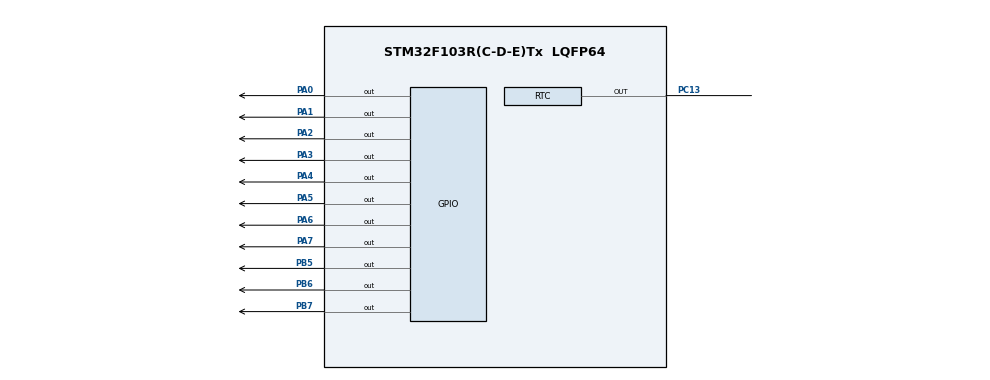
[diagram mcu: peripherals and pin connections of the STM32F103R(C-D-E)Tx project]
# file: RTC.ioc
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Mcu.Family=STM32F1
Mcu.Name=STM32F103R(C-D-E)Tx
Mcu.Package=LQFP64
NVIC.PriorityGroup=NVIC_PRIORITYGROUP_4
PA0-WKUP.Signal=GPIO_Output
PA1.Signal=GPIO_Output
PA2.Signal=GPIO_Output
PA3.Signal=GPIO_Output
PA4.Signal=GPIO_Output
PA5.Signal=GPIO_Output
PA6.Signal=GPIO_Output
PA7.Signal=GPIO_Output
PB5.Signal=GPIO_Output
PB6.Signal=GPIO_Output
PB7.Signal=GPIO_Output
PC13-TAMPER-RTC.Mode=RTC OUT
PC13-TAMPER-RTC.Signal=RTC_OUT
PC14-OSC32_IN.Mode=LSE-External-Oscillator
PC14-OSC32_IN.Signal=RCC_OSC32_IN
PC15-OSC32_OUT.Mode=LSE-External-Oscillator
PC15-OSC32_OUT.Signal=RCC_OSC32_OUT
PD0-OSC_IN.Mode=HSE-External-Oscillator
PD0-OSC_IN.Signal=RCC_OSC_IN
PD1-OSC_OUT.Mode=HSE-External-Oscillator
PD1-OSC_OUT.Signal=RCC_OSC_OUT
ProjectManager.TargetToolchain=EWARM
RCC.APB1Freq_Value=8000000
RCC.APB2Freq_Value=8000000
RCC.APB2TimFreq_Value=8000000
RCC.RTCClockSelection=RCC_RTCCLKSOURCE_LSE
RTC.Date=15
RTC.Format=FORMAT_BIN
RTC.Hours=9
RTC.Minutes=37
RTC.Month=RTC_MONTH_SEPTEMBER
RTC.OutPut=RTC_OUTPUTSOURCE_SECOND
RTC.Seconds=20
RTC.WeekDay=RTC_WEEKDAY_WEDNESDAY
RTC.Year=16
board=RTC

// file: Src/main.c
/**
  ******************************************************************************
  * File Name          : main.c
  * Description        : Main program body
  ******************************************************************************
  *
  * COPYRIGHT(c) 2016 STMicroelectronics
  *
  * Redistribution and use in source and binary forms, with or without modification,
  * are permitted provided that the following conditions are met:
  *   1. Redistributions of source code must retain the above copyright notice,
  *      this list of conditions and the following disclaimer.
  *   2. Redistributions in binary form must reproduce the above copyright notice,
  *      this list of conditions and the following disclaimer in the documentation
  *      and/or other materials provided with the distribution.
  *   3. Neither the name of STMicroelectronics nor the names of its contributors
  *      may be used to endorse or promote products derived from this software
  *      without specific prior written permission.
  *
  * THIS SOFTWARE IS PROVIDED BY THE COPYRIGHT HOLDERS AND CONTRIBUTORS "AS IS"
  * AND ANY EXPRESS OR IMPLIED WARRANTIES, INCLUDING, BUT NOT LIMITED TO, THE
  * IMPLIED WARRANTIES OF MERCHANTABILITY AND FITNESS FOR A PARTICULAR PURPOSE ARE
  * DISCLAIMED. IN NO EVENT SHALL THE COPYRIGHT HOLDER OR CONTRIBUTORS BE LIABLE
  * FOR ANY DIRECT, INDIRECT, INCIDENTAL, SPECIAL, EXEMPLARY, OR CONSEQUENTIAL
  * DAMAGES (INCLUDING, BUT NOT LIMITED TO, PROCUREMENT OF SUBSTITUTE GOODS OR
  * SERVICES; LOSS OF USE, DATA, OR PROFITS; OR BUSINESS INTERRUPTION) HOWEVER
  * CAUSED AND ON ANY THEORY OF LIABILITY, WHETHER IN CONTRACT, STRICT LIABILITY,
  * OR TORT (INCLUDING NEGLIGENCE OR OTHERWISE) ARISING IN ANY WAY OUT OF THE USE
  * OF THIS SOFTWARE, EVEN IF ADVISED OF THE POSSIBILITY OF SUCH DAMAGE.
  *
  ******************************************************************************
  */
#include "stm32f1xx_hal.h"

/* USER CODE BEGIN Includes */

#include "LCD\lcd.h"
#include <stdio.h>

/* USER CODE END Includes */

RTC_HandleTypeDef hrtc;

/* USER CODE BEGIN PV */
/* Private variables ---------------------------------------------------------*/

 char str[17];
 RTC_TimeTypeDef time;
 RTC_DateTypeDef date;

/* USER CODE END PV */

void SystemClock_Config(void);
static void MX_GPIO_Init(void);
static void MX_RTC_Init(void);

/* USER CODE BEGIN PFP */
/* Private function prototypes -----------------------------------------------*/

/* USER CODE END PFP */

int main(void)
{

  /* MCU Configuration----------------------------------------------------------*/

  /* Reset of all peripherals, Initializes the Flash interface and the Systick. */
  HAL_Init();

  /* Configure the system clock */
  SystemClock_Config();

  /* Initialize all configured peripherals */
  MX_GPIO_Init();
  MX_RTC_Init();

  /* USER CODE BEGIN 2 */

  lcd_init();
  lcd_clear();

  /* USER CODE END 2 */

  /* Infinite loop */
  /* USER CODE BEGIN WHILE */
  while (1)
  {
    HAL_RTC_GetTime(&hrtc, &time, RTC_FORMAT_BIN);
    HAL_RTC_GetDate(&hrtc, &date, RTC_FORMAT_BIN);

    sprintf(str,"%2.2d:%2.2d:%2.2d", time.Hours, time.Minutes, time.Seconds);
    lcd_gotoxy(0,0);
    lcd_puts(str);

    sprintf(str,"20%2.2d/%2.2d/%2.2d", date.Year, date.Month, date.Date);
    lcd_gotoxy(0,1);
    lcd_puts(str);

  /* USER CODE END WHILE */

  }

}

/** System Clock Configuration
*/
void SystemClock_Config(void)
{

  RCC_OscInitTypeDef RCC_OscInitStruct;
  RCC_ClkInitTypeDef RCC_ClkInitStruct;
  RCC_PeriphCLKInitTypeDef PeriphClkInit;

  RCC_OscInitStruct.OscillatorType = RCC_OSCILLATORTYPE_HSI|RCC_OSCILLATORTYPE_LSE;
  RCC_OscInitStruct.LSEState = RCC_LSE_ON;
  RCC_OscInitStruct.HSIState = RCC_HSI_ON;
  RCC_OscInitStruct.HSICalibrationValue = 16;
  RCC_OscInitStruct.PLL.PLLState = RCC_PLL_NONE;
  HAL_RCC_OscConfig(&RCC_OscInitStruct);

  RCC_ClkInitStruct.ClockType = RCC_CLOCKTYPE_SYSCLK;
  RCC_ClkInitStruct.SYSCLKSource = RCC_SYSCLKSOURCE_HSI;
  RCC_ClkInitStruct.AHBCLKDivider = RCC_SYSCLK_DIV1;
  RCC_ClkInitStruct.APB1CLKDivider = RCC_HCLK_DIV1;
  RCC_ClkInitStruct.APB2CLKDivider = RCC_HCLK_DIV1;
  HAL_RCC_ClockConfig(&RCC_ClkInitStruct, FLASH_LATENCY_0);

  PeriphClkInit.PeriphClockSelection = RCC_PERIPHCLK_RTC;
  PeriphClkInit.RTCClockSelection = RCC_RTCCLKSOURCE_LSE;
  HAL_RCCEx_PeriphCLKConfig(&PeriphClkInit);

  HAL_SYSTICK_Config(HAL_RCC_GetHCLKFreq()/1000);

  HAL_SYSTICK_CLKSourceConfig(SYSTICK_CLKSOURCE_HCLK);

  /* SysTick_IRQn interrupt configuration */
  HAL_NVIC_SetPriority(SysTick_IRQn, 0, 0);
}

/* RTC init function */
void MX_RTC_Init(void)
{

  RTC_TimeTypeDef sTime;
  RTC_DateTypeDef DateToUpdate;

    /**Initialize RTC and set the Time and Date
    */
  hrtc.Instance = RTC;
  hrtc.Init.AsynchPrediv = RTC_AUTO_1_SECOND;
  hrtc.Init.OutPut = RTC_OUTPUTSOURCE_SECOND;
  HAL_RTC_Init(&hrtc);

  sTime.Hours = 9;
  sTime.Minutes = 37;
  sTime.Seconds = 20;

  HAL_RTC_SetTime(&hrtc, &sTime, FORMAT_BIN);

  DateToUpdate.WeekDay = RTC_WEEKDAY_WEDNESDAY;
  DateToUpdate.Month = RTC_MONTH_SEPTEMBER;
  DateToUpdate.Date = 15;
  DateToUpdate.Year = 16;

  HAL_RTC_SetDate(&hrtc, &DateToUpdate, FORMAT_BIN);

}

/** Configure pins as
        * Analog
        * Input
        * Output
        * EVENT_OUT
        * EXTI
*/
void MX_GPIO_Init(void)
{

  GPIO_InitTypeDef GPIO_InitStruct;

  /* GPIO Ports Clock Enable */
  __GPIOC_CLK_ENABLE();
  __GPIOD_CLK_ENABLE();
  __GPIOA_CLK_ENABLE();
  __GPIOB_CLK_ENABLE();

  /*Configure GPIO pins : PA0 PA1 PA2 PA3
                           PA4 PA5 PA6 PA7 */
  GPIO_InitStruct.Pin = GPIO_PIN_0|GPIO_PIN_1|GPIO_PIN_2|GPIO_PIN_3
                          |GPIO_PIN_4|GPIO_PIN_5|GPIO_PIN_6|GPIO_PIN_7;
  GPIO_InitStruct.Mode = GPIO_MODE_OUTPUT_PP;
  GPIO_InitStruct.Speed = GPIO_SPEED_LOW;
  HAL_GPIO_Init(GPIOA, &GPIO_InitStruct);

  /*Configure GPIO pins : PB5 PB6 PB7 */
  GPIO_InitStruct.Pin = GPIO_PIN_5|GPIO_PIN_6|GPIO_PIN_7;
  GPIO_InitStruct.Mode = GPIO_MODE_OUTPUT_PP;
  GPIO_InitStruct.Speed = GPIO_SPEED_LOW;
  HAL_GPIO_Init(GPIOB, &GPIO_InitStruct);

}

/************************ (C) COPYRIGHT STMicroelectronics *****END OF FILE****/
